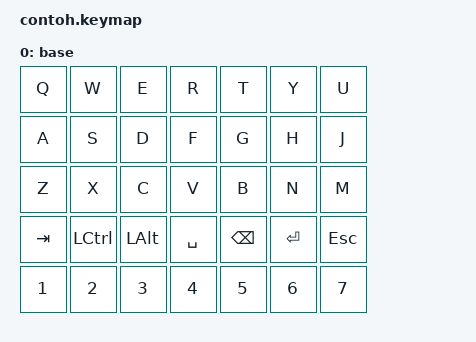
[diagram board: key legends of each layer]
#include <behaviors.dtsi>
#include <dt-bindings/zmk/keys.h>
#include <dt-bindings/zmk/bt.h>
#include <dt-bindings/zmk/outputs.h>

#define BASE 0

/ {
    keymap {
        compatible = "zmk,keymap";

        base {
            bindings = <
&kp Q &kp W &kp E &kp R &kp T &kp Y &kp U
&kp A &kp S &kp D &kp F &kp G &kp H &kp J
&kp Z &kp X &kp C &kp V &kp B &kp N &kp M
&kp TAB &kp LCTRL &kp LALT &kp SPACE &kp BSPC &kp ENTER &kp ESC
&kp N1 &kp N2 &kp N3 &kp N4 &kp N5 &kp N6 &kp N7
            >;
        };
    };
};
